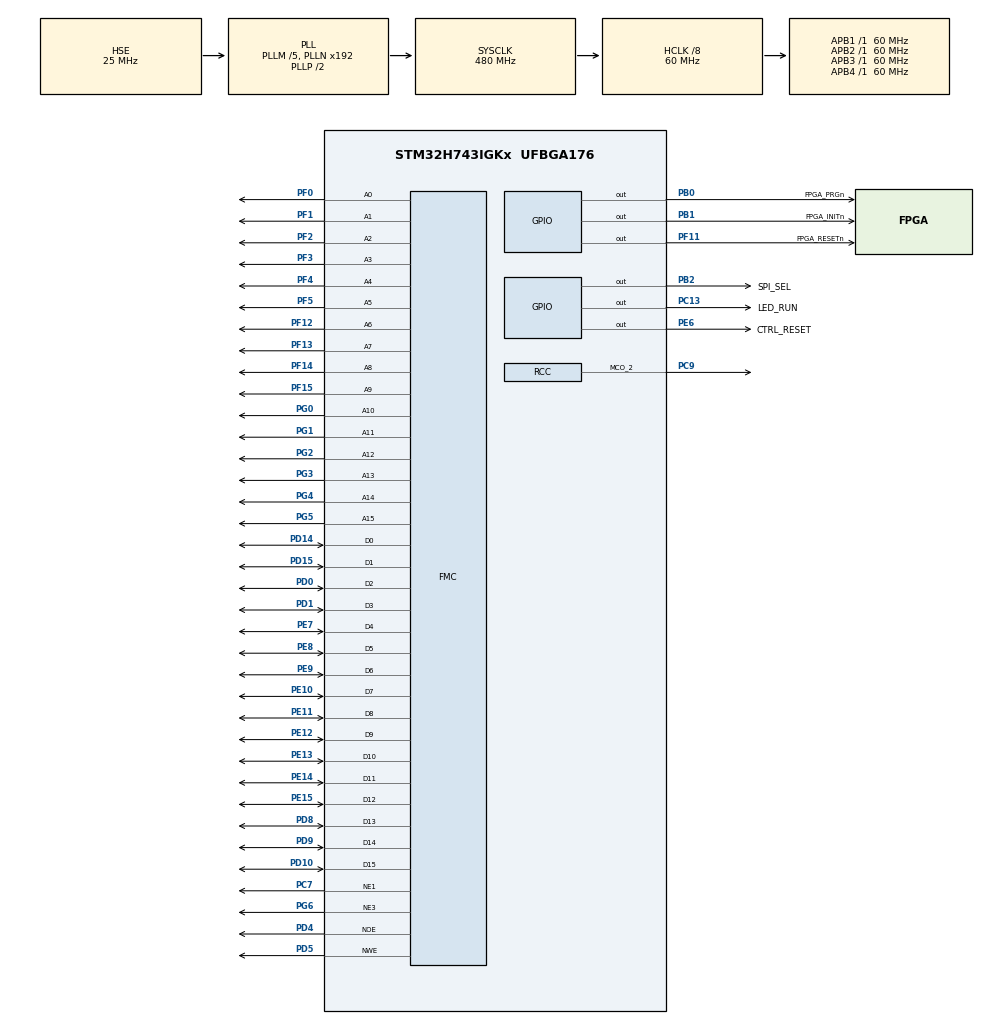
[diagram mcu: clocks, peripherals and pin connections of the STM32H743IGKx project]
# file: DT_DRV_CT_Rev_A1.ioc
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CORTEX_M7.MPU_Control=MPU_HFNMI_PRIVDEF
FMC.AddressSetupTime3=15
FMC.DataSetupTime3=255
FMC.WriteFifo1=FMC_WRITE_FIFO_DISABLE
FMC.WriteFifo2=FMC_WRITE_FIFO_DISABLE
FMC.WriteFifo3=FMC_WRITE_FIFO_DISABLE
FMC.WriteFifo4=FMC_WRITE_FIFO_DISABLE
FMC.WriteOperation1=FMC_WRITE_OPERATION_ENABLE
FMC.WriteOperation3=FMC_WRITE_OPERATION_ENABLE
Mcu.Family=STM32H7
Mcu.Name=STM32H743IGKx
Mcu.Package=UFBGA176
NVIC.PriorityGroup=NVIC_PRIORITYGROUP_4
PB0.GPIO_Label=FPGA_PRGn
PB0.GPIO_ModeDefaultOutputPP=GPIO_MODE_OUTPUT_PP
PB0.GPIO_PuPd=GPIO_NOPULL
PB0.PinState=GPIO_PIN_SET
PB0.Signal=GPIO_Output
PB1.GPIO_Label=FPGA_INITn
PB1.GPIO_ModeDefaultOutputPP=GPIO_MODE_OUTPUT_PP
PB1.GPIO_PuPd=GPIO_NOPULL
PB1.PinState=GPIO_PIN_SET
PB1.Signal=GPIO_Output
PB2.GPIO_Label=SPI_SEL
PB2.GPIO_ModeDefaultOutputPP=GPIO_MODE_OUTPUT_PP
PB2.GPIO_PuPd=GPIO_NOPULL
PB2.PinState=GPIO_PIN_RESET
PB2.Signal=GPIO_Output
PC13.GPIO_Label=LED_RUN
PC13.GPIO_ModeDefaultOutputPP=GPIO_MODE_OUTPUT_PP
PC13.Signal=GPIO_Output
PC7.Mode=NorPsramChipSelect1_1
PC7.Signal=FMC_NE1
PC9.Mode=Clock-out-2
PC9.Signal=RCC_MCO_2
PD0.Signal=FMC_D2_DA2
PD1.Signal=FMC_D3_DA3
PD10.Signal=FMC_D15_DA15
PD14.Signal=FMC_D0_DA0
PD15.Signal=FMC_D1_DA1
PD4.Signal=FMC_NOE
PD5.Signal=FMC_NWE
PD8.Signal=FMC_D13_DA13
PD9.Signal=FMC_D14_DA14
PE10.Signal=FMC_D7_DA7
PE11.Signal=FMC_D8_DA8
PE12.Signal=FMC_D9_DA9
PE13.Signal=FMC_D10_DA10
PE14.Signal=FMC_D11_DA11
PE15.Signal=FMC_D12_DA12
PE6.GPIO_Label=CTRL_RESET
PE6.Signal=GPIO_Output
PE7.Signal=FMC_D4_DA4
PE8.Signal=FMC_D5_DA5
PE9.Signal=FMC_D6_DA6
PF0.Signal=FMC_A0
PF1.Signal=FMC_A1
PF11.GPIO_Label=FPGA_RESETn
PF11.GPIO_ModeDefaultOutputPP=GPIO_MODE_OUTPUT_OD
PF11.GPIO_PuPd=GPIO_NOPULL
PF11.PinState=GPIO_PIN_SET
PF11.Signal=GPIO_Output
PF12.Signal=FMC_A6
PF13.Signal=FMC_A7
PF14.Signal=FMC_A8
PF15.Signal=FMC_A9
PF2.Signal=FMC_A2
PF3.Signal=FMC_A3
PF4.Signal=FMC_A4
PF5.Signal=FMC_A5
PG0.Signal=FMC_A10
PG1.Signal=FMC_A11
PG2.Signal=FMC_A12
PG3.Signal=FMC_A13
PG4.Signal=FMC_A14_BA0
PG5.Signal=FMC_A15_BA1
PG6.Mode=NorPsramChipSelect3_3
PG6.Signal=FMC_NE3
PH0-OSC_IN\ (PH0).Mode=HSE-External-Oscillator
PH0-OSC_IN\ (PH0).Signal=RCC_OSC_IN
PH1-OSC_OUT\ (PH1).Mode=HSE-External-Oscillator
PH1-OSC_OUT\ (PH1).Signal=RCC_OSC_OUT
ProjectManager.HeapSize=0x200
ProjectManager.StackSize=0x400
ProjectManager.TargetToolchain=STM32CubeIDE
RCC.ADCFreq_Value=480000000
RCC.APB1Freq_Value=60000000
RCC.APB2Freq_Value=60000000
RCC.APB3Freq_Value=60000000
RCC.APB4Freq_Value=60000000
RCC.CortexFreq_Value=480000000
RCC.DIVM1=5
RCC.DIVM2=5
RCC.DIVM3=5
RCC.DIVN1=192
RCC.DIVN2=192
RCC.DIVN3=192
RCC.HCLKFreq_Value=60000000
RCC.HPRE=RCC_HCLK_DIV8
RCC.PLL2FRACN=0
RCC.PLL3FRACN=0
RCC.PLLFRACN=0
RCC.PLLSourceVirtual=RCC_PLLSOURCE_HSE
RCC.RCC_MCO2Source=RCC_MCO2SOURCE_HSE
RCC.SYSCLKFreq_VALUE=480000000
RCC.SYSCLKSource=RCC_SYSCLKSOURCE_PLLCLK
RCC.USBFreq_Value=480000000
SH.FMC_A0.0=FMC_A0,16b-a1
SH.FMC_A0.1=FMC_A0,14b-a3
SH.FMC_A1.0=FMC_A1,16b-a1
SH.FMC_A1.1=FMC_A1,14b-a3
SH.FMC_A10.0=FMC_A10,16b-a1
SH.FMC_A10.1=FMC_A10,14b-a3
SH.FMC_A11.0=FMC_A11,16b-a1
SH.FMC_A11.1=FMC_A11,14b-a3
SH.FMC_A12.0=FMC_A12,16b-a1
SH.FMC_A12.1=FMC_A12,14b-a3
SH.FMC_A13.0=FMC_A13,16b-a1
SH.FMC_A13.1=FMC_A13,14b-a3
SH.FMC_A14_BA0.0=FMC_A14,16b-a1
SH.FMC_A15_BA1.0=FMC_A15,16b-a1
SH.FMC_A2.0=FMC_A2,16b-a1
SH.FMC_A2.1=FMC_A2,14b-a3
SH.FMC_A3.0=FMC_A3,16b-a1
SH.FMC_A3.1=FMC_A3,14b-a3
SH.FMC_A4.0=FMC_A4,16b-a1
SH.FMC_A4.1=FMC_A4,14b-a3
SH.FMC_A5.0=FMC_A5,16b-a1
SH.FMC_A5.1=FMC_A5,14b-a3
SH.FMC_A6.0=FMC_A6,16b-a1
SH.FMC_A6.1=FMC_A6,14b-a3
SH.FMC_A7.0=FMC_A7,16b-a1
SH.FMC_A7.1=FMC_A7,14b-a3
SH.FMC_A8.0=FMC_A8,16b-a1
SH.FMC_A8.1=FMC_A8,14b-a3
SH.FMC_A9.0=FMC_A9,16b-a1
SH.FMC_A9.1=FMC_A9,14b-a3
SH.FMC_D0_DA0.0=FMC_D0,8b-d1
SH.FMC_D0_DA0.1=FMC_D0,16b-d3
SH.FMC_D10_DA10.0=FMC_D10,16b-d3
SH.FMC_D11_DA11.0=FMC_D11,16b-d3
SH.FMC_D12_DA12.0=FMC_D12,16b-d3
SH.FMC_D13_DA13.0=FMC_D13,16b-d3
SH.FMC_D14_DA14.0=FMC_D14,16b-d3
SH.FMC_D15_DA15.0=FMC_D15,16b-d3
SH.FMC_D1_DA1.0=FMC_D1,8b-d1
SH.FMC_D1_DA1.1=FMC_D1,16b-d3
SH.FMC_D2_DA2.0=FMC_D2,8b-d1
SH.FMC_D2_DA2.1=FMC_D2,16b-d3
SH.FMC_D3_DA3.0=FMC_D3,8b-d1
SH.FMC_D3_DA3.1=FMC_D3,16b-d3
SH.FMC_D4_DA4.0=FMC_D4,8b-d1
SH.FMC_D4_DA4.1=FMC_D4,16b-d3
SH.FMC_D5_DA5.0=FMC_D5,8b-d1
SH.FMC_D5_DA5.1=FMC_D5,16b-d3
SH.FMC_D6_DA6.0=FMC_D6,8b-d1
SH.FMC_D6_DA6.1=FMC_D6,16b-d3
SH.FMC_D7_DA7.0=FMC_D7,8b-d1
SH.FMC_D7_DA7.1=FMC_D7,16b-d3
SH.FMC_D8_DA8.0=FMC_D8,16b-d3
SH.FMC_D9_DA9.0=FMC_D9,16b-d3
SH.FMC_NOE.0=FMC_NOE,Sram1
SH.FMC_NOE.1=FMC_NOE,Sram3
SH.FMC_NWE.0=FMC_NWE,Sram1
SH.FMC_NWE.1=FMC_NWE,Sram3
board=custom

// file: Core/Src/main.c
#include "main.h"

/* USER CODE BEGIN Includes */
//#define _READ_WRITE_TEST_
#include "fpga_access.h"
#include "stdio.h"
/* USER CODE END Includes */

SRAM_HandleTypeDef hsram1;
SRAM_HandleTypeDef hsram3;

/* USER CODE BEGIN PV */
int32_t gActPosition = 0;

volatile uint16_t g_val1 = 0;
volatile uint16_t g_val2 = 0;
volatile uint16_t g_val3 = 0;
volatile uint16_t g_val4 = 0;

volatile uint32_t g_hfsr  = 0;
volatile uint32_t g_cfsr  = 0;
volatile uint32_t g_mmfar = 0;
volatile uint32_t g_bfar  = 0;
volatile uint32_t g_abfsr = 0;

volatile uint32_t g_fault_r0  = 0;
volatile uint32_t g_fault_r1  = 0;
volatile uint32_t g_fault_r2  = 0;
volatile uint32_t g_fault_r3  = 0;
volatile uint32_t g_fault_r12 = 0;
volatile uint32_t g_fault_lr  = 0;
volatile uint32_t g_fault_pc  = 0;
volatile uint32_t g_fault_psr = 0;

/* USER CODE END PV */

void SystemClock_Config(void);
//static void MPU_Initialize(void);
static void MPU_Config(void);
static void MX_GPIO_Init(void);
static void MX_FMC_Init(void);

int main(void)
{
  /* USER CODE BEGIN 1 */
//	int32_t ulTempData = 0;
//	int32_t ulWriteData = 0, ulWritePrev = 0;

	int32_t nPreTick = 0;

  /* USER CODE END 1 */

  /* MCU Configuration--------------------------------------------------------*/

  /* Reset of all peripherals, Initializes the Flash interface and the Systick. */
  HAL_Init();

  /* MPU Configuration--------------------------------------------------------*/
  MPU_Config();

  /* Configure the system clock */
  SystemClock_Config();

  /* Initialize all configured peripherals */
  MX_GPIO_Init();
  MX_FMC_Init();
  /* USER CODE BEGIN 2 */

  // FPGA 안정화 대기 (먼저)
  uint32_t nStartTick = HAL_GetTick();
  while((HAL_GetTick() - nStartTick) < 500);

  // 안정화 후 write + 검증
  volatile uint16_t verify = 0;
  uint8_t retry = 0;

  while(retry < 10)
  {
      *(volatile uint16_t*)ADDR_COUNTER_CONFIG(0) = 0x0830;  // 필터값 포함

      nStartTick = HAL_GetTick();
      while((HAL_GetTick() - nStartTick) < 10);

      verify = *(volatile uint16_t*)ADDR_COUNTER_CONFIG(0);
      if(verify == 0x0830)
          break;
      retry++;
  }

  // Set Counter config register(2 phase, 4 times)
//  *(volatile uint16_t*)ADDR_COUNTER_CONFIG(0) = 0x0030;
//    *(volatile uint16_t*)ADDR_COUNTER_CONFIG(0) = 0x0130;
  // Set Counter config register(2 phase, 2 times)
//  *(volatile uint16_t*)ADDR_COUNTER_CONFIG(0) = 0x0120;
  // Set Counter config register(2 phase, 1 times)
//  *(volatile uint16_t*)ADDR_COUNTER_CONFIG(0) = 0x0110;

  /* USER CODE END 2 */

  /* Infinite loop */
  /* USER CODE BEGIN WHILE */
  /*Configure GPIO pin Output Level */

  while (1)
  {
	  // Live LED
	  if((HAL_GetTick() - nPreTick) > 500)
	  {
//		  *(volatile uint16_t*)ADDR_COUNTER_CONFIG(0) = 0x0030;

		  HAL_GPIO_TogglePin(LED_RUN_GPIO_Port, LED_RUN_Pin);
//		  g_val1 = *(__IO uint16_t *)(0x68000408);
//		  g_val2 = *(__IO uint16_t *)(0x68000810);
//		  g_val3 = *(__IO uint16_t *)(0x68006EE0);
//		  g_val4 = *(volatile uint16_t*)ADDR_COUNTER_CONFIG(0);
		  nPreTick = HAL_GetTick();
	  }

#ifdef _READ_WRITE_TEST_
	  srand(HAL_GetTick());
	  ulWriteData = rand();

	  // Check counter write read
	  StatusSet_ActualPosition(0, ulWriteData);
	  StatusGet_ActualPosition(0, &ulTempData);

	  if(ulWriteData == ulTempData)
		  gTestOK++;
	  else
		  gTestFail++;

	  ulWritePrev = ulWriteData;
#else
	  StatusGet_ActualPosition(0, &gActPosition);
//	  g_val3 = ReadVendorId16();
#endif
    /* USER CODE END WHILE */

  }
}

void SystemClock_Config(void)
{
  RCC_OscInitTypeDef RCC_OscInitStruct = {0};
  RCC_ClkInitTypeDef RCC_ClkInitStruct = {0};

  /** Supply configuration update enable
  */
  HAL_PWREx_ConfigSupply(PWR_LDO_SUPPLY);

  /** Configure the main internal regulator output voltage
  */
  __HAL_PWR_VOLTAGESCALING_CONFIG(PWR_REGULATOR_VOLTAGE_SCALE0);

  while(!__HAL_PWR_GET_FLAG(PWR_FLAG_VOSRDY)) {}

  /** Initializes the RCC Oscillators according to the specified parameters
  * in the RCC_OscInitTypeDef structure.
  */
  RCC_OscInitStruct.OscillatorType = RCC_OSCILLATORTYPE_HSE;
  RCC_OscInitStruct.HSEState = RCC_HSE_ON;
  RCC_OscInitStruct.PLL.PLLState = RCC_PLL_ON;
  RCC_OscInitStruct.PLL.PLLSource = RCC_PLLSOURCE_HSE;
  RCC_OscInitStruct.PLL.PLLM = 5;
  RCC_OscInitStruct.PLL.PLLN = 192;
  RCC_OscInitStruct.PLL.PLLP = 2;
  RCC_OscInitStruct.PLL.PLLQ = 2;
  RCC_OscInitStruct.PLL.PLLR = 2;
  RCC_OscInitStruct.PLL.PLLRGE = RCC_PLL1VCIRANGE_2;
  RCC_OscInitStruct.PLL.PLLVCOSEL = RCC_PLL1VCOWIDE;
  RCC_OscInitStruct.PLL.PLLFRACN = 0;
  if (HAL_RCC_OscConfig(&RCC_OscInitStruct) != HAL_OK)
  {
    Error_Handler();
  }

  /** Initializes the CPU, AHB and APB buses clocks
  */
  RCC_ClkInitStruct.ClockType = RCC_CLOCKTYPE_HCLK|RCC_CLOCKTYPE_SYSCLK
                              |RCC_CLOCKTYPE_PCLK1|RCC_CLOCKTYPE_PCLK2
                              |RCC_CLOCKTYPE_D3PCLK1|RCC_CLOCKTYPE_D1PCLK1;
  RCC_ClkInitStruct.SYSCLKSource = RCC_SYSCLKSOURCE_PLLCLK;
  RCC_ClkInitStruct.SYSCLKDivider = RCC_SYSCLK_DIV1;
  RCC_ClkInitStruct.AHBCLKDivider = RCC_HCLK_DIV8;
  RCC_ClkInitStruct.APB3CLKDivider = RCC_APB3_DIV1;
  RCC_ClkInitStruct.APB1CLKDivider = RCC_APB1_DIV1;
  RCC_ClkInitStruct.APB2CLKDivider = RCC_APB2_DIV1;
  RCC_ClkInitStruct.APB4CLKDivider = RCC_APB4_DIV1;

  if (HAL_RCC_ClockConfig(&RCC_ClkInitStruct, FLASH_LATENCY_4) != HAL_OK)
  {
    Error_Handler();
  }
  HAL_RCC_MCOConfig(RCC_MCO2, RCC_MCO2SOURCE_HSE, RCC_MCODIV_1);
}

/* FMC initialization function */
static void MX_FMC_Init(void)
{

  FMC_NORSRAM_TimingTypeDef Timing = {0};

  /** Perform the SRAM1 memory initialization sequence
  */
  hsram1.Instance = FMC_NORSRAM_DEVICE;
  hsram1.Extended = FMC_NORSRAM_EXTENDED_DEVICE;
  /* hsram1.Init */
  hsram1.Init.NSBank = FMC_NORSRAM_BANK1;
  hsram1.Init.DataAddressMux = FMC_DATA_ADDRESS_MUX_DISABLE;
  hsram1.Init.MemoryType = FMC_MEMORY_TYPE_SRAM;
  hsram1.Init.MemoryDataWidth = FMC_NORSRAM_MEM_BUS_WIDTH_8;
  hsram1.Init.BurstAccessMode = FMC_BURST_ACCESS_MODE_DISABLE;
  hsram1.Init.WaitSignalPolarity = FMC_WAIT_SIGNAL_POLARITY_LOW;
  hsram1.Init.WaitSignalActive = FMC_WAIT_TIMING_BEFORE_WS;
  hsram1.Init.WriteOperation = FMC_WRITE_OPERATION_ENABLE;
  hsram1.Init.WaitSignal = FMC_WAIT_SIGNAL_DISABLE;
  hsram1.Init.ExtendedMode = FMC_EXTENDED_MODE_DISABLE;
  hsram1.Init.AsynchronousWait = FMC_ASYNCHRONOUS_WAIT_DISABLE;
  hsram1.Init.WriteBurst = FMC_WRITE_BURST_DISABLE;
  hsram1.Init.ContinuousClock = FMC_CONTINUOUS_CLOCK_SYNC_ONLY;
  hsram1.Init.WriteFifo = FMC_WRITE_FIFO_DISABLE;
  hsram1.Init.PageSize = FMC_PAGE_SIZE_NONE;
  /* Timing */
  Timing.AddressSetupTime = 5;			// 15->5
  Timing.AddressHoldTime = 2;			// 15->2
  Timing.DataSetupTime = 245;			// 255->20
  Timing.BusTurnAroundDuration = 5;	// 15->5
  Timing.CLKDivision = 16;
  Timing.DataLatency = 17;
  Timing.AccessMode = FMC_ACCESS_MODE_A;
  /* ExtTiming */

  if (HAL_SRAM_Init(&hsram1, &Timing, NULL) != HAL_OK)
  {
    Error_Handler( );
  }

  /** Perform the SRAM3 memory initialization sequence
  */
  hsram3.Instance = FMC_NORSRAM_DEVICE;
  hsram3.Extended = FMC_NORSRAM_EXTENDED_DEVICE;
  /* hsram3.Init */
  hsram3.Init.NSBank = FMC_NORSRAM_BANK3;
  hsram3.Init.DataAddressMux = FMC_DATA_ADDRESS_MUX_DISABLE;
  hsram3.Init.MemoryType = FMC_MEMORY_TYPE_SRAM;
  hsram3.Init.MemoryDataWidth = FMC_NORSRAM_MEM_BUS_WIDTH_16;
  hsram3.Init.BurstAccessMode = FMC_BURST_ACCESS_MODE_DISABLE;
  hsram3.Init.WaitSignalPolarity = FMC_WAIT_SIGNAL_POLARITY_LOW;
  hsram3.Init.WaitSignalActive = FMC_WAIT_TIMING_BEFORE_WS;
  hsram3.Init.WriteOperation = FMC_WRITE_OPERATION_ENABLE;
  hsram3.Init.WaitSignal = FMC_WAIT_SIGNAL_DISABLE;
  hsram3.Init.ExtendedMode = FMC_EXTENDED_MODE_DISABLE;
  hsram3.Init.AsynchronousWait = FMC_ASYNCHRONOUS_WAIT_DISABLE;
  hsram3.Init.WriteBurst = FMC_WRITE_BURST_DISABLE;
  hsram3.Init.ContinuousClock = FMC_CONTINUOUS_CLOCK_SYNC_ONLY;
  hsram3.Init.WriteFifo = FMC_WRITE_FIFO_DISABLE;
  hsram3.Init.PageSize = FMC_PAGE_SIZE_NONE;
  /* Timing */
  Timing.AddressSetupTime = 5;			// 15->5
  Timing.AddressHoldTime = 2;			// 15->2
  Timing.DataSetupTime = 245;			// 255->20
  Timing.BusTurnAroundDuration = 5;	// 15->5
  Timing.CLKDivision = 16;
  Timing.DataLatency = 17;
  Timing.AccessMode = FMC_ACCESS_MODE_A;
  /* ExtTiming */

  if (HAL_SRAM_Init(&hsram3, &Timing, NULL) != HAL_OK)
  {
    Error_Handler( );
  }

}

static void MX_GPIO_Init(void)
{
  GPIO_InitTypeDef GPIO_InitStruct = {0};

  /* GPIO Ports Clock Enable */
  __HAL_RCC_GPIOE_CLK_ENABLE();
  __HAL_RCC_GPIOD_CLK_ENABLE();
  __HAL_RCC_GPIOC_CLK_ENABLE();
  __HAL_RCC_GPIOF_CLK_ENABLE();
  __HAL_RCC_GPIOH_CLK_ENABLE();
  __HAL_RCC_GPIOG_CLK_ENABLE();
  __HAL_RCC_GPIOB_CLK_ENABLE();

  /*Configure GPIO pin Output Level */
  HAL_GPIO_WritePin(CTRL_RESET_GPIO_Port, CTRL_RESET_Pin, GPIO_PIN_RESET);

  /*Configure GPIO pin Output Level */
  HAL_GPIO_WritePin(LED_RUN_GPIO_Port, LED_RUN_Pin, GPIO_PIN_RESET);

  /*Configure GPIO pin Output Level */
  HAL_GPIO_WritePin(SPI_SEL_GPIO_Port, SPI_SEL_Pin, GPIO_PIN_RESET);

  /*Configure GPIO pin Output Level */
  HAL_GPIO_WritePin(GPIOB, FPGA_INITn_Pin|FPGA_PRGn_Pin, GPIO_PIN_SET);

  /*Configure GPIO pin Output Level */
  HAL_GPIO_WritePin(FPGA_RESETn_GPIO_Port, FPGA_RESETn_Pin, GPIO_PIN_SET);

  /*Configure GPIO pin : CTRL_RESET_Pin */
  GPIO_InitStruct.Pin = CTRL_RESET_Pin;
  GPIO_InitStruct.Mode = GPIO_MODE_OUTPUT_PP;
  GPIO_InitStruct.Pull = GPIO_NOPULL;
  GPIO_InitStruct.Speed = GPIO_SPEED_FREQ_LOW;
  HAL_GPIO_Init(CTRL_RESET_GPIO_Port, &GPIO_InitStruct);

  /*Configure GPIO pin : LED_RUN_Pin */
  GPIO_InitStruct.Pin = LED_RUN_Pin;
  GPIO_InitStruct.Mode = GPIO_MODE_OUTPUT_PP;
  GPIO_InitStruct.Pull = GPIO_NOPULL;
  GPIO_InitStruct.Speed = GPIO_SPEED_FREQ_LOW;
  HAL_GPIO_Init(LED_RUN_GPIO_Port, &GPIO_InitStruct);

  /*Configure GPIO pin : PC9 */
  GPIO_InitStruct.Pin = GPIO_PIN_9;
  GPIO_InitStruct.Mode = GPIO_MODE_AF_PP;
  GPIO_InitStruct.Pull = GPIO_NOPULL;
  GPIO_InitStruct.Speed = GPIO_SPEED_FREQ_LOW;
  GPIO_InitStruct.Alternate = GPIO_AF0_MCO;
  HAL_GPIO_Init(GPIOC, &GPIO_InitStruct);

  /*Configure GPIO pins : SPI_SEL_Pin FPGA_INITn_Pin FPGA_PRGn_Pin */
  GPIO_InitStruct.Pin = SPI_SEL_Pin|FPGA_INITn_Pin|FPGA_PRGn_Pin;
  GPIO_InitStruct.Mode = GPIO_MODE_OUTPUT_PP;
  GPIO_InitStruct.Pull = GPIO_NOPULL;
  GPIO_InitStruct.Speed = GPIO_SPEED_FREQ_LOW;
  HAL_GPIO_Init(GPIOB, &GPIO_InitStruct);

  /*Configure GPIO pin : FPGA_RESETn_Pin */
  GPIO_InitStruct.Pin = FPGA_RESETn_Pin;
  GPIO_InitStruct.Mode = GPIO_MODE_OUTPUT_OD;
  GPIO_InitStruct.Pull = GPIO_NOPULL;
  GPIO_InitStruct.Speed = GPIO_SPEED_FREQ_LOW;
  HAL_GPIO_Init(FPGA_RESETn_GPIO_Port, &GPIO_InitStruct);

}

/* MPU Configuration */
void MPU_Config(void)
{
  /* Disables the MPU */
  HAL_MPU_Disable();

  /* Enables the MPU */
  HAL_MPU_Enable(MPU_HFNMI_PRIVDEF);
}

void Error_Handler(void)
{
  __disable_irq();
  while (1)
  {
  }
}
